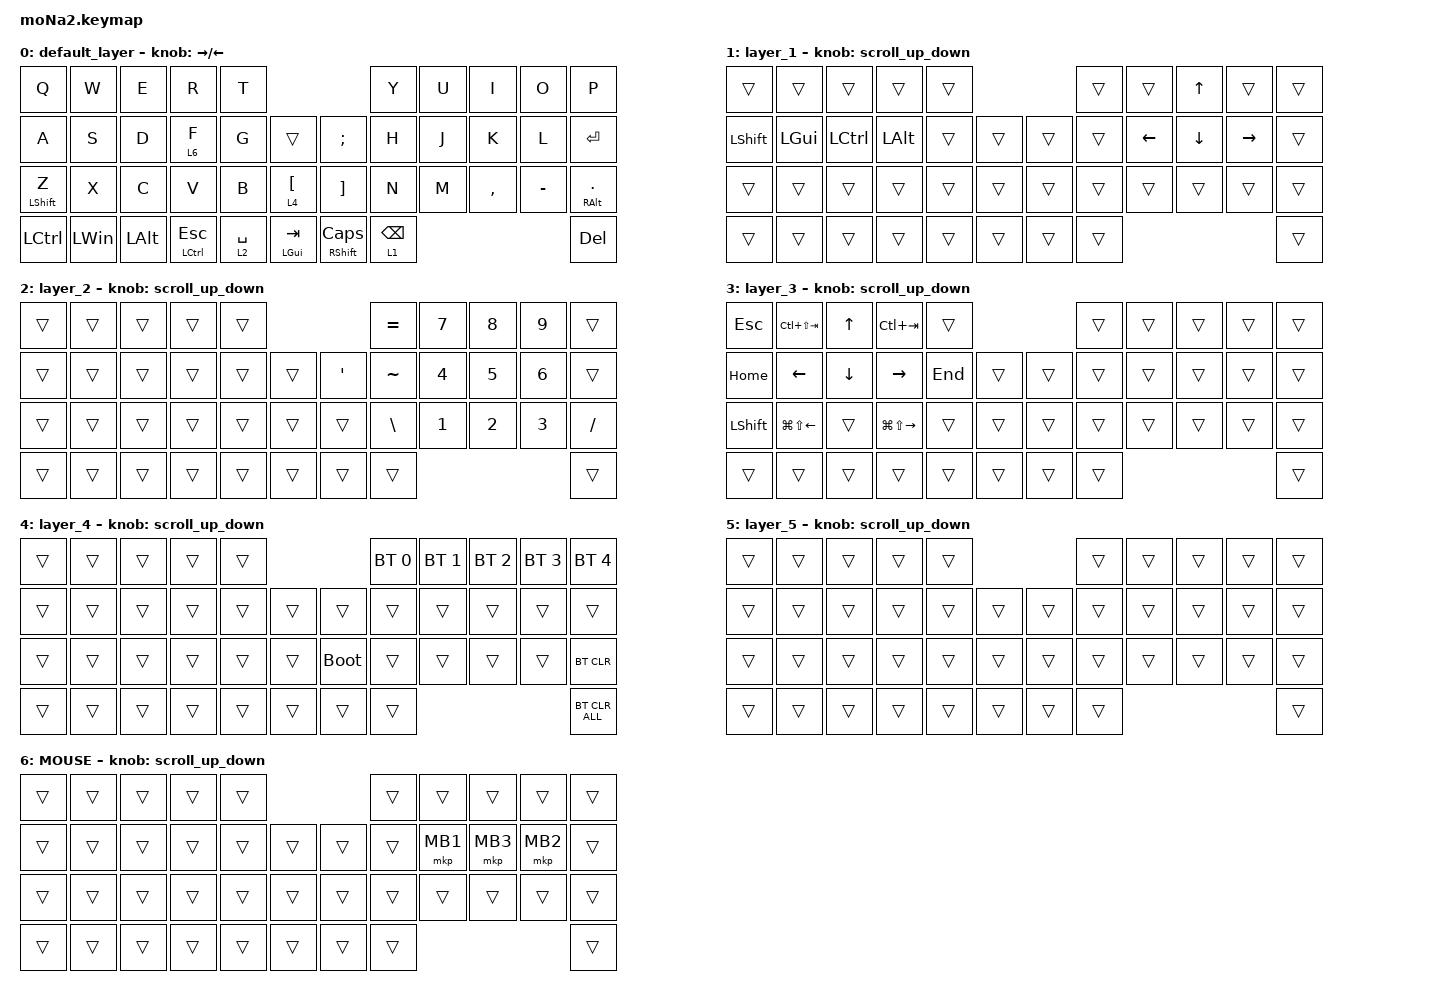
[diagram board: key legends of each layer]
#include <behaviors.dtsi>
#include <dt-bindings/zmk/bt.h>
#include <dt-bindings/zmk/keys.h>
#include <dt-bindings/zmk/pointing.h>

#define ZMK_POINTING_DEFAULT_SCRL_VAL 100
#define MOUSE 6

&mt {
    flavor = "balanced";
    quick-tap-ms = <0>;
};

/ {
    combos { compatible = "zmk,combos"; };

    macros {
        to_layer_0: to_layer_0 {
            compatible = "zmk,behavior-macro-one-param";
            #binding-cells = <1>;
            bindings = <&to 0 &macro_param_1to1 &kp MACRO_PLACEHOLDER>;
            label = "TO_LAYER_0";
        };
    };

    behaviors {
        lt_to_layer_0: lt_to_layer_0 {
            compatible = "zmk,behavior-hold-tap";
            label = "LAYER_TAP_TO_0";
            bindings = <&mo>, <&to_layer_0>;

            #binding-cells = <2>;
            tapping-term-ms = <200>;
        };

        scroll_up_down: behavior_sensor_rotate_mouse_wheel_up_down {
            compatible = "zmk,behavior-sensor-rotate";
            #sensor-binding-cells = <0>;
            bindings = <&msc SCRL_UP>, <&msc SCRL_DOWN>;

            tap-ms = <20>;
        };
    };

    keymap {
        compatible = "zmk,keymap";

        default_layer {
            bindings = <
&kp Q             &kp W         &kp E         &kp R                 &kp T                                                    &kp Y            &kp U  &kp I      &kp O      &kp P
&kp A             &kp S         &kp D         &lt 6 F               &kp G        &trans                &kp SEMICOLON         &kp H            &kp J  &kp K      &kp L      &kp ENTER
&mt LEFT_SHIFT Z  &kp X         &kp C         &kp V                 &kp B        &lt 4 LEFT_BRACKET    &kp RIGHT_BRACKET     &kp N            &kp M  &kp COMMA  &kp MINUS  &mt RIGHT_ALT DOT
&kp LCTRL         &kp LEFT_WIN  &kp LEFT_ALT  &mt LEFT_CONTROL ESC  &lt 2 SPACE  &mt LEFT_GUI TAB      &mt RIGHT_SHIFT CLCK  &lt 1 BACKSPACE                               &kp DEL
            >;

            sensor-bindings = <&inc_dec_kp RIGHT LEFT>;
        };

        layer_1 {
            bindings = <
&trans          &trans        &trans            &trans        &trans                    &trans  &trans    &kp UP    &trans     &trans
&kp LEFT_SHIFT  &kp LEFT_GUI  &kp LEFT_CONTROL  &kp LEFT_ALT  &trans  &trans    &trans  &trans  &kp LEFT  &kp DOWN  &kp RIGHT  &trans
&trans          &trans        &trans            &trans        &trans  &trans    &trans  &trans  &trans    &trans    &trans     &trans
&trans          &trans        &trans            &trans        &trans  &trans    &trans  &trans                                 &trans
            >;

            sensor-bindings = <&scroll_up_down>;
        };

        layer_2 {
            bindings = <
&trans  &trans  &trans  &trans  &trans                              &kp EQUAL      &kp NUMBER_7  &kp NUMBER_8  &kp NUMBER_9  &trans
&trans  &trans  &trans  &trans  &trans  &trans    &kp SINGLE_QUOTE  &kp TILDE      &kp NUMBER_4  &kp NUMBER_5  &kp NUMBER_6  &trans
&trans  &trans  &trans  &trans  &trans  &trans    &trans            &kp BACKSLASH  &kp NUMBER_1  &kp NUMBER_2  &kp NUMBER_3  &kp SLASH
&trans  &trans  &trans  &trans  &trans  &trans    &trans            &trans                                                   &trans
            >;

            sensor-bindings = <&scroll_up_down>;
        };

        layer_3 {
            bindings = <
&kp ESCAPE      &kp LC(LS(TAB))         &kp UP_ARROW    &kp LC(TAB)              &trans                     &trans  &trans  &trans  &trans  &trans
&kp HOME        &kp LEFT_ARROW          &kp DOWN_ARROW  &kp RIGHT_ARROW          &kp END  &trans    &trans  &trans  &trans  &trans  &trans  &trans
&kp LEFT_SHIFT  &kp LG(LS(LEFT_ARROW))  &trans          &kp LG(LS(RIGHT_ARROW))  &trans   &trans    &trans  &trans  &trans  &trans  &trans  &trans
&trans          &trans                  &trans          &trans                   &trans   &trans    &trans  &trans                          &trans
            >;

            sensor-bindings = <&scroll_up_down>;
        };

        layer_4 {
            bindings = <
&trans  &trans  &trans  &trans  &trans                         &bt BT_SEL 0  &bt BT_SEL 1  &bt BT_SEL 2  &bt BT_SEL 3  &bt BT_SEL 4
&trans  &trans  &trans  &trans  &trans  &trans    &trans       &trans        &trans        &trans        &trans        &trans
&trans  &trans  &trans  &trans  &trans  &trans    &bootloader  &trans        &trans        &trans        &trans        &bt BT_CLR
&trans  &trans  &trans  &trans  &trans  &trans    &trans       &trans                                                  &bt BT_CLR_ALL
            >;

            sensor-bindings = <&scroll_up_down>;
        };

        layer_5 {
            bindings = <
&trans  &trans  &trans  &trans  &trans                    &trans  &trans  &trans  &trans  &trans
&trans  &trans  &trans  &trans  &trans  &trans    &trans  &trans  &trans  &trans  &trans  &trans
&trans  &trans  &trans  &trans  &trans  &trans    &trans  &trans  &trans  &trans  &trans  &trans
&trans  &trans  &trans  &trans  &trans  &trans    &trans  &trans                          &trans
            >;

            sensor-bindings = <&scroll_up_down>;
        };

        MOUSE {
            bindings = <
&trans  &trans  &trans  &trans  &trans                    &trans  &trans    &trans    &trans    &trans
&trans  &trans  &trans  &trans  &trans  &trans    &trans  &trans  &mkp MB1  &mkp MB3  &mkp MB2  &trans
&trans  &trans  &trans  &trans  &trans  &trans    &trans  &trans  &trans    &trans    &trans    &trans
&trans  &trans  &trans  &trans  &trans  &trans    &trans  &trans                                &trans
            >;

            sensor-bindings = <&scroll_up_down>;
        };
    };
};
